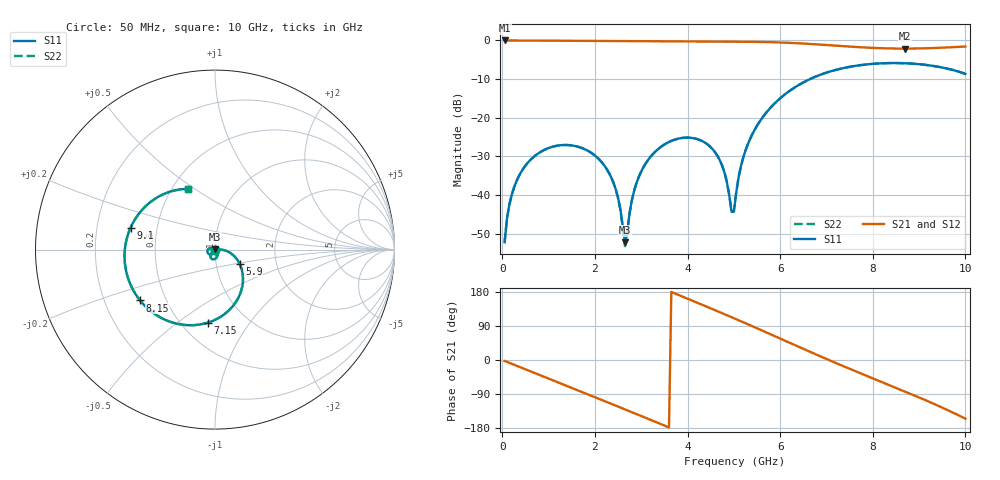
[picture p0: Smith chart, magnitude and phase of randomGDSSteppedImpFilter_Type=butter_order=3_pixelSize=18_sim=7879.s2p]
! freq	dB(S11)	phase(S11)	dB(S12)	phase(S12)
!  dB(S21)	phase(S21)	dB(S22)	phase(S22)
!S-par simulation data
#  GHz  S  DB  R 50
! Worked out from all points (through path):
!   200 points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, 50 MHz to 10 GHz, reference 50 ohm
!   highest |S21| = -0.01 dB at 50 MHz (marker M1); lowest = -2.1 dB at 8.7 GHz (marker M2)
!   group delay of S21, straight-line fit = 143 ps
!   lowest |S11| = -52.2 dB at 2.65 GHz (marker M3), VSWR 1.00, Z = 50.1 + j0.21 ohm
!   |S11| at or under -10 dB: start of sweep to 6.644 GHz
!   |S22| runs from -53.2 to -5.8 dB; largest |S21 - S12| = 0
!   S11 on the Smith chart (normalised r, x): 50 MHz: 1.00, -0.00; 5.9 GHz: 1.30, -0.21; 7.15 GHz: 0.67, -0.65; 8.15 GHz: 0.36, -0.27; 9.1 GHz: 0.35, +0.11; 10 GHz: 0.60, +0.47
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0.05  -52.23 -90.2  -0.01 -2.5  -0.01 -2.5  -52.23 -90.2
0.2  -40.10 -98.3  -0.02 -9.9  -0.02 -9.9  -40.10 -98.3
0.55  -31.65 -116.8  -0.04 -27.1  -0.04 -27.1  -31.65 -116.7
1.75  -27.98 -178.5  -0.10 -85.8  -0.10 -85.8  -27.99 -178.2
2.35  -35.37 147.1  -0.13 -115.5  -0.13 -115.5  -35.40 147.9
2.5  -40.72 132.8  -0.14 -122.9  -0.14 -122.9  -40.81 134.4
2.65  -52.24 58.8  -0.15 -130.4  -0.15 -130.4  -53.23 58.9
2.9  -36.81 -43.0  -0.17 -142.8  -0.17 -142.8  -36.81 -44.1
3.4  -27.77 -73.9  -0.22 -167.9  -0.22 -167.9  -27.76 -74.2
4.35  -26.25 -120.8  -0.29 144.0  -0.29 144.0  -26.24 -120.9
4.75  -32.48 -134.4  -0.31 123.4  -0.31 123.4  -32.46 -134.1
4.95  -44.33 -95.9  -0.32 113.0  -0.32 113.0  -44.04 -95.3
5.05  -39.50 -12.8  -0.33 107.7  -0.33 107.7  -39.42 -14.1
5.35  -25.49 -4.0  -0.36 91.8  -0.36 91.8  -25.49 -4.4
5.9  -16.07 -29.6  -0.49 62.1  -0.49 62.1  -16.07 -29.8
6.7  -9.70 -71.7  -0.95 18.6  -0.95 18.6  -9.70 -71.9
7.15  -7.79 -95.3  -1.31 -5.2  -1.31 -5.2  -7.79 -95.4
8.15  -5.94 -145.9  -2.00 -55.8  -2.00 -55.8  -5.94 -145.9
8.35  -5.86 -155.9  -2.07 -65.8  -2.07 -65.8  -5.86 -155.9
8.7  -5.91 -173.6  -2.11 -83.3  -2.11 -83.3  -5.91 -173.6
9.1  -6.27 165.5  -2.05 -104.0  -2.05 -104.0  -6.26 165.6
10  -8.66 113.7  -1.57 -154.8  -1.57 -154.8  -8.66 114.0
